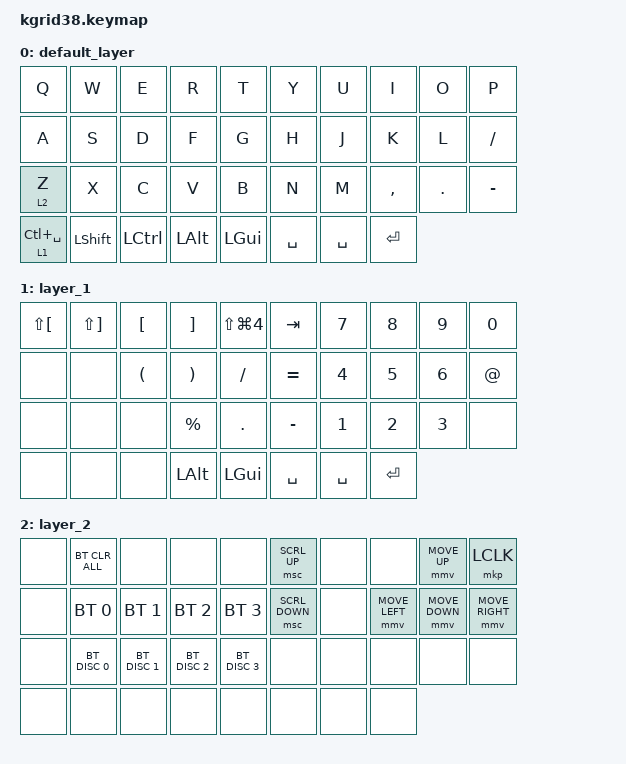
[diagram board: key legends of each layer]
#include <behaviors.dtsi>
#include <dt-bindings/zmk/bt.h>
#include <dt-bindings/zmk/keys.h>
#include <dt-bindings/zmk/pointing.h>

/ {
    combos {
        compatible = "zmk,combos";

        del {
            bindings = <&kp BACKSPACE>;
            key-positions = <37 36>;
        };
    };

    keymap {
        compatible = "zmk,keymap";

        default_layer {
            bindings = <
&kp Q            &kp W      &kp E      &kp R         &kp T     &kp Y      &kp U      &kp I      &kp O    &kp P
&kp A            &kp S      &kp D      &kp F         &kp G     &kp H      &kp J      &kp K      &kp L    &kp SLASH
&lt 2 Z          &kp X      &kp C      &kp V         &kp B     &kp N      &kp M      &kp COMMA  &kp DOT  &kp MINUS
&lt 1 LC(SPACE)  &kp LSHFT  &kp LCTRL  &kp LEFT_ALT  &kp LGUI  &kp SPACE  &kp SPACE  &kp ENTER
            >;
        };

        layer_1 {
            bindings = <
&kp LS(LEFT_BRACKET)  &kp LS(RIGHT_BRACKET)  &kp LBKT  &kp RBKT   &kp LS(LG(N4))  &kp TAB    &kp N7     &kp N8     &kp N9  &kp N0
&none                 &none                  &kp LPAR  &kp RPAR   &kp SLASH       &kp EQUAL  &kp N4     &kp N5     &kp N6  &kp AT
&none                 &none                  &none     &kp PRCNT  &kp PERIOD      &kp MINUS  &kp N1     &kp N2     &kp N3  &none
&none                 &none                  &none     &kp LALT   &kp LGUI        &kp SPACE  &kp SPACE  &kp ENTER
            >;
        };

        layer_2 {
            bindings = <
&none  &bt BT_CLR_ALL  &none          &none          &none          &msc SCRL_UP    &none  &none           &mmv MOVE_UP    &mkp LCLK
&none  &bt BT_SEL 0    &bt BT_SEL 1   &bt BT_SEL 2   &bt BT_SEL 3   &msc SCRL_DOWN  &none  &mmv MOVE_LEFT  &mmv MOVE_DOWN  &mmv MOVE_RIGHT
&none  &bt BT_DISC 0   &bt BT_DISC 1  &bt BT_DISC 2  &bt BT_DISC 3  &none           &none  &none           &none           &none
&none  &none           &none          &none          &none          &none           &none  &none
            >;
        };
    };
};
